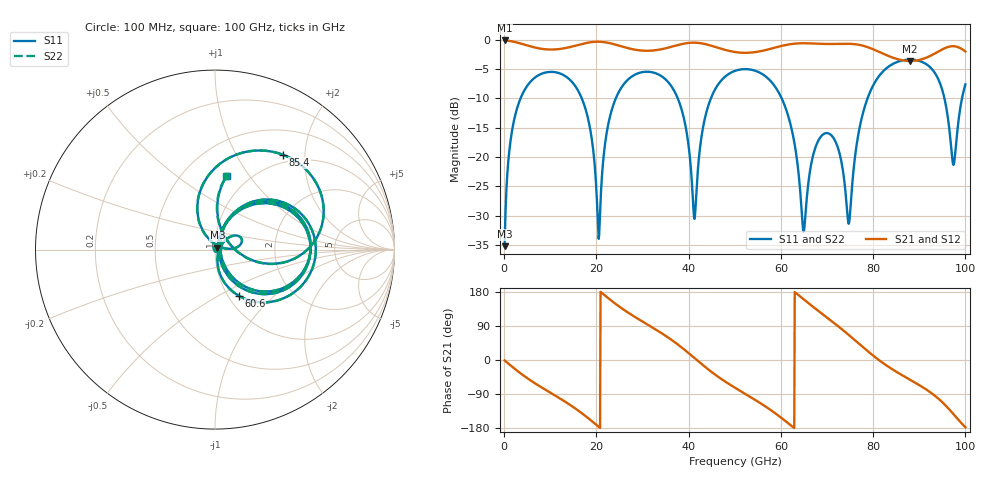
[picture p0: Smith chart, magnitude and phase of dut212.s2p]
! Touchstone file exported from HFSS 2026.1.0
!  File:  C:/ffzhzh/LocalFiles/Ansys_Project_Files/temp_train_TSV_RDL_212_1783660877_29156.aedt
!  Generated:  01:31:30 PM Jul 10, 2026
!  Design:  TSV_RDL
!  Project:  temp_train_TSV_RDL_212_1783660877_29156
! Variables:
!  h_bsmrdl = 2.99um
!  h_ox = 20um
!  h_rdl = 5um
!  h_sub = 90.09um
!  h_tmrdl = 4.45um
!  h_tsv = 90.09um
!  h_via = 3um
!  l_bsmrdl = 330.01um
!  l_sub = 2693.28um
!  l_tmrdl = 299.09um
!  m_sub = 200um
!  pitch = 51.13um
!  r_tsv = 9.97um
!  s_tmrdl = 10um
!  w_bsmrdl = 15.53um
!  w_sub = 500um
!  w_tmrdl = 20.1um
!  x_tsv_center1 = 309.14um
!  x_tsv_center2 = 654.68um
!  x_tsv_center3 = 973.87um
!  x_tsv_center4 = 1319.41um
!  x_tsv_center5 = 1638.6um
!  x_tsv_center6 = 1984.14um
# GHz S MA R 50.000000
! Terminal data exported
! Port[1] = TM_RDL1_1_T1
! Port[2] = TM_RDL5_1_T1
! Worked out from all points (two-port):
!   1000 points, 100 MHz to 100 GHz, reference 50 ohm
!   highest |S21| = -0.12 dB at 100 MHz (marker M1); lowest = -3.6 dB at 88 GHz (marker M2)
!   |S21| within 3 dB of the highest: start of sweep to 84.5 GHz; 91.33 GHz to end of sweep
!   lowest |S11| = -35.2 dB at 100 MHz (marker M3), VSWR 1.04, Z = 51.4 + j1.07 ohm
!   |S11| at or under -10 dB: 16.83 GHz to 24.21 GHz (7.382 GHz wide, 36 % of centre); 37.64 GHz to 44.82 GHz (7.186 GHz wide, 17.4 % of centre); 60.17 GHz to 78.78 GHz (18.62 GHz wide, 26.8 % of centre) (the widest 3 of 5)
!   |S22| runs from -35.2 to -3.4 dB; largest |S21 - S12| = 6.2e-14
!   S11 on the Smith chart (normalised r, x): 100 MHz: 1.03, +0.02; 60.6 GHz: 1.12, -0.63; 85.4 GHz: 0.87, +1.59; 100 GHz: 0.79, +0.79
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0.1  0.01731 37.1  0.9863 -1.1  0.9863 -1.1  0.01731 37.1
! Gamma 0 0 0 0
! Port Impedance 50 0 50 0
1.6  0.1572 67.2  0.9701 -16.4  0.9701 -16.4  0.1572 67.2
4.6  0.3825 42.5  0.9032 -44.4  0.9032 -44.4  0.3825 42.5
16.8  0.3182 -48.7  0.9188 -140.0  0.9188 -140.0  0.3182 -48.8
20.5  0.01998 -0.1  0.962 -176.2  0.962 -176.2  0.01956 -0.3
24.3  0.3224 52.7  0.9048 146.8  0.9048 146.8  0.3223 52.8
33.4  0.5072 -13.5  0.8206 76.4  0.8206 76.4  0.5072 -13.5
38.5  0.2519 -52.2  0.9181 33.0  0.9181 33.0  0.2519 -52.2
41.3  0.02965 12.3  0.9444 4.8  0.9444 4.8  0.02985 12.3
44.2  0.2692 59.2  0.9058 -24.3  0.9058 -24.3  0.2693 59.1
50.1  0.5435 14.9  0.7852 -73.6  0.7852 -73.6  0.5436 14.8
60.6  0.289 -62.7  0.8944 -157.4  0.8944 -157.4  0.2891 -62.9
64.9  0.02306 -21.8  0.9337 160.5  0.9337 160.5  0.0228 -22.4
66.7  0.09231 42.1  0.9297 143.0  0.9297 143.0  0.09211 42.0
71.3  0.1471 12.1  0.9207 99.7  0.9207 99.7  0.147 11.7
74.7  0.02686 60.4  0.9242 66.3  0.9242 66.3  0.02527 60.2
77.9  0.2454 113.6  0.8872 32.8  0.8872 32.8  0.245 114.0
83.4  0.5923 68.5  0.7247 -18.5  0.7247 -18.5  0.5921 68.6
85.4  0.6502 54.4  0.6811 -33.8  0.6811 -33.8  0.65 54.4
88  0.6768 37.5  0.6589 -52.1  0.6589 -52.1  0.6766 37.5
97.4  0.08563 33.4  0.8811 -142.6  0.8811 -142.6  0.08367 33.3
100  0.4153 80.9  0.7945 -177.6  0.7945 -177.6  0.4149 81.2
